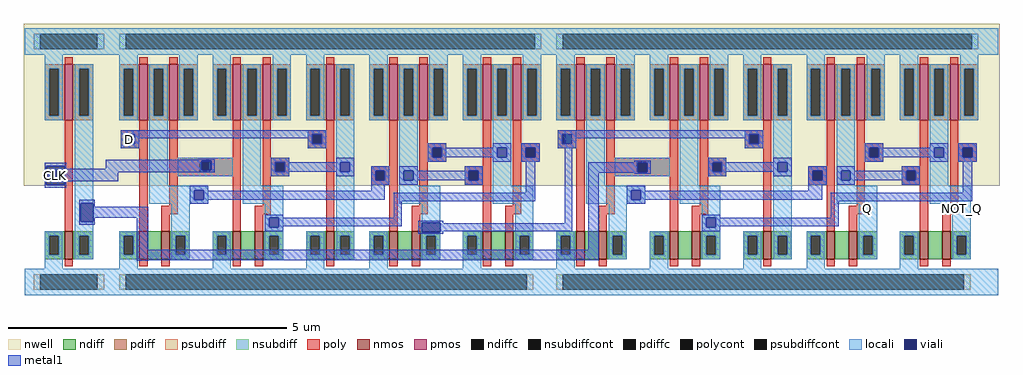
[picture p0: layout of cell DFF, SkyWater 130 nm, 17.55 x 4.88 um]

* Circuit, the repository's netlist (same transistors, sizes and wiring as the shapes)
* NGSPICE file created from DFF.ext - technology: sky130A

.subckt Dlatch VDD D CLK GND Q NOT_Q
X0 a_430_506# CLK VDD VDD sky130_fd_pr__pfet_01v8 ad=3.9e+11p pd=2.78e+06u as=3.24e+12p ps=2.448e+07u w=1e+06u l=150000u
X1 a_94_6# D GND GND sky130_fd_pr__nfet_01v8 ad=1.25e+11p pd=1.5e+06u as=9e+11p ps=8.6e+06u w=500000u l=150000u
X2 a_1330_6# Q GND GND sky130_fd_pr__nfet_01v8 ad=1.25e+11p pd=1.5e+06u as=0p ps=0u w=500000u l=150000u
X3 VDD a_480_n20# a_430_506# VDD sky130_fd_pr__pfet_01v8 ad=0p pd=0u as=0p ps=0u w=1e+06u l=150000u
X4 Q NOT_Q a_994_6# GND sky130_fd_pr__nfet_01v8 ad=1.8e+11p pd=1.72e+06u as=1.25e+11p ps=1.5e+06u w=500000u l=150000u
X5 a_994_6# a_94_506# GND GND sky130_fd_pr__nfet_01v8 ad=0p pd=0u as=0p ps=0u w=500000u l=150000u
X6 a_480_n20# D GND GND sky130_fd_pr__nfet_01v8 ad=1.8e+11p pd=1.72e+06u as=0p ps=0u w=500000u l=150000u
X7 NOT_Q Q VDD VDD sky130_fd_pr__pfet_01v8 ad=3.9e+11p pd=2.78e+06u as=0p ps=0u w=1e+06u l=150000u
X8 a_480_n20# D VDD VDD sky130_fd_pr__pfet_01v8 ad=3.6e+11p pd=2.72e+06u as=0p ps=0u w=1e+06u l=150000u
X9 VDD CLK a_94_506# VDD sky130_fd_pr__pfet_01v8 ad=0p pd=0u as=3.9e+11p ps=2.78e+06u w=1e+06u l=150000u
X10 a_430_506# a_480_n20# a_430_6# GND sky130_fd_pr__nfet_01v8 ad=1.8e+11p pd=1.72e+06u as=1.25e+11p ps=1.5e+06u w=500000u l=150000u
X11 VDD a_430_506# NOT_Q VDD sky130_fd_pr__pfet_01v8 ad=0p pd=0u as=0p ps=0u w=1e+06u l=150000u
X12 Q a_94_506# VDD VDD sky130_fd_pr__pfet_01v8 ad=3.9e+11p pd=2.78e+06u as=0p ps=0u w=1e+06u l=150000u
X13 a_94_506# D VDD VDD sky130_fd_pr__pfet_01v8 ad=0p pd=0u as=0p ps=0u w=1e+06u l=150000u
X14 a_430_6# CLK GND GND sky130_fd_pr__nfet_01v8 ad=0p pd=0u as=0p ps=0u w=500000u l=150000u
X15 NOT_Q a_430_506# a_1330_6# GND sky130_fd_pr__nfet_01v8 ad=1.8e+11p pd=1.72e+06u as=0p ps=0u w=500000u l=150000u
X16 VDD NOT_Q Q VDD sky130_fd_pr__pfet_01v8 ad=0p pd=0u as=0p ps=0u w=1e+06u l=150000u
X17 a_94_506# CLK a_94_6# GND sky130_fd_pr__nfet_01v8 ad=1.8e+11p pd=1.72e+06u as=0p ps=0u w=500000u l=150000u
.ends

.subckt inv VDD GND Y A
X0 Y A GND GND sky130_fd_pr__nfet_01v8 ad=1.8e+11p pd=1.72e+06u as=1.8e+11p ps=1.72e+06u w=500000u l=150000u
X1 Y A VDD VDD sky130_fd_pr__pfet_01v8 ad=3.6e+11p pd=2.72e+06u as=3.6e+11p ps=2.72e+06u w=1e+06u l=150000u
.ends

*.subckt DFF D Q NOT_Q CLK
XDlatch_0 inv_0/VDD D CLK inv_0/GND Dlatch_1/D Dlatch_0/NOT_Q Dlatch
XDlatch_1 inv_0/VDD Dlatch_1/D inv_0/Y inv_0/GND Q NOT_Q Dlatch
Xinv_0 inv_0/VDD inv_0/GND inv_0/Y CLK inv
*.ends

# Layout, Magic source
magic
tech sky130A
magscale 1 2
<< locali >>
rect -264 864 3238 960
rect -84 331 -18 630
rect 82 528 148 594
rect 1654 528 1720 594
rect 286 483 484 494
rect 286 449 373 483
rect 407 449 484 483
rect 286 428 484 449
rect 1858 477 2056 494
rect 1858 443 1941 477
rect 1975 443 2056 477
rect 1858 428 2056 443
rect -84 265 -62 331
rect -84 230 -18 265
rect 1164 261 1230 394
rect 1500 230 1566 394
rect 2736 230 2802 394
rect 3072 230 3138 394
rect 1183 226 1211 227
rect -264 0 3238 96
<< viali >>
rect -186 398 -120 464
rect 373 449 407 483
rect 1941 443 1975 477
rect -62 265 -18 331
rect 1164 227 1230 261
<< metal1 >>
rect 361 488 419 489
rect 27 483 419 488
rect -192 464 -114 476
rect -192 398 -186 464
rect -120 454 -114 464
rect 27 454 373 483
rect -120 449 373 454
rect 407 449 419 483
rect -120 443 419 449
rect -120 409 72 443
rect -120 398 -114 409
rect -192 386 -114 398
rect -68 331 -12 343
rect -68 265 -62 331
rect -18 318 -12 331
rect -18 278 180 318
rect -18 265 -12 278
rect -68 253 -12 265
rect 140 163 180 278
rect 1152 261 1242 267
rect 1152 227 1164 261
rect 1230 258 1242 261
rect 1678 258 1706 578
rect 1929 478 1987 483
rect 1230 230 1706 258
rect 1763 477 1987 478
rect 1763 443 1941 477
rect 1975 443 1987 477
rect 1763 441 1987 443
rect 1230 227 1242 230
rect 1152 221 1242 227
rect 1763 163 1800 441
rect 1929 437 1987 441
rect 140 126 1800 163
rect 140 124 180 126
use Dlatch  Dlatch_0
transform 1 0 84 0 1 124
box -84 -124 1586 852
use Dlatch  Dlatch_1
transform 1 0 1656 0 1 124
box -84 -124 1586 852
use inv  inv_0
transform 1 0 -184 0 1 124
box -84 -124 242 852
<< labels >>
flabel locali s -186 398 -120 464 0 FreeSerif 400 0 0 0 CLK
port 5 nsew
flabel locali s 82 528 148 594 0 FreeSerif 400 0 0 0 D
port 0 nsew
flabel locali s 2736 230 2802 394 0 FreeSerif 400 0 0 0 Q
port 1 nsew
flabel locali s 3072 230 3138 394 0 FreeSerif 400 0 0 0 NOT_Q
port 2 nsew
<< end >>

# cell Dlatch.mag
magic
tech sky130A
<< nwell >>
rect -42 135 793 426
<< nmos >>
rect 32 3 47 53
rect 72 3 87 53
rect 200 3 215 53
rect 240 3 255 53
rect 368 3 383 53
rect 482 3 497 53
rect 522 3 537 53
rect 650 3 665 53
rect 690 3 705 53
<< pmos >>
rect 32 253 47 353
rect 86 253 101 353
rect 200 253 215 353
rect 254 253 269 353
rect 368 253 383 353
rect 482 253 497 353
rect 536 253 551 353
rect 650 253 665 353
rect 704 253 719 353
<< ndiff >>
rect -4 45 32 53
rect -4 11 4 45
rect 21 11 32 45
rect -4 3 32 11
rect 47 3 72 53
rect 87 45 123 53
rect 87 11 98 45
rect 115 11 123 45
rect 87 3 123 11
rect 164 45 200 53
rect 164 11 172 45
rect 189 11 200 45
rect 164 3 200 11
rect 215 3 240 53
rect 255 45 291 53
rect 255 11 266 45
rect 283 11 291 45
rect 255 3 291 11
rect 332 45 368 53
rect 332 11 340 45
rect 357 11 368 45
rect 332 3 368 11
rect 383 45 419 53
rect 383 11 394 45
rect 411 11 419 45
rect 383 3 419 11
rect 446 45 482 53
rect 446 11 454 45
rect 471 11 482 45
rect 446 3 482 11
rect 497 3 522 53
rect 537 45 573 53
rect 537 11 548 45
rect 565 11 573 45
rect 537 3 573 11
rect 614 45 650 53
rect 614 11 622 45
rect 639 11 650 45
rect 614 3 650 11
rect 665 3 690 53
rect 705 45 741 53
rect 705 11 716 45
rect 733 11 741 45
rect 705 3 741 11
<< pdiff >>
rect -4 345 32 353
rect -4 261 4 345
rect 21 261 32 345
rect -4 253 32 261
rect 47 345 86 353
rect 47 261 58 345
rect 75 261 86 345
rect 47 253 86 261
rect 101 345 137 353
rect 101 261 112 345
rect 129 261 137 345
rect 101 253 137 261
rect 164 345 200 353
rect 164 261 172 345
rect 189 261 200 345
rect 164 253 200 261
rect 215 345 254 353
rect 215 261 226 345
rect 243 261 254 345
rect 215 253 254 261
rect 269 345 305 353
rect 269 261 280 345
rect 297 261 305 345
rect 269 253 305 261
rect 332 345 368 353
rect 332 261 340 345
rect 357 261 368 345
rect 332 253 368 261
rect 383 345 419 353
rect 383 261 394 345
rect 411 261 419 345
rect 383 253 419 261
rect 446 345 482 353
rect 446 261 454 345
rect 471 261 482 345
rect 446 253 482 261
rect 497 345 536 353
rect 497 261 508 345
rect 525 261 536 345
rect 497 253 536 261
rect 551 345 587 353
rect 551 261 562 345
rect 579 261 587 345
rect 551 253 587 261
rect 614 345 650 353
rect 614 261 622 345
rect 639 261 650 345
rect 614 253 650 261
rect 665 345 704 353
rect 665 261 676 345
rect 693 261 704 345
rect 665 253 704 261
rect 719 345 755 353
rect 719 261 730 345
rect 747 261 755 345
rect 719 253 755 261
<< ndiffc >>
rect 4 11 21 45
rect 98 11 115 45
rect 172 11 189 45
rect 266 11 283 45
rect 340 11 357 45
rect 394 11 411 45
rect 454 11 471 45
rect 548 11 565 45
rect 622 11 639 45
rect 716 11 733 45
<< pdiffc >>
rect 4 261 21 345
rect 58 261 75 345
rect 112 261 129 345
rect 172 261 189 345
rect 226 261 243 345
rect 280 261 297 345
rect 340 261 357 345
rect 394 261 411 345
rect 454 261 471 345
rect 508 261 525 345
rect 562 261 579 345
rect 622 261 639 345
rect 676 261 693 345
rect 730 261 747 345
<< psubdiff >>
rect -4 -52 8 -24
rect 729 -52 741 -24
<< nsubdiff >>
rect -4 380 8 408
rect 743 380 755 408
<< psubdiffcont >>
rect 8 -52 729 -24
<< nsubdiffcont >>
rect 8 380 743 408
<< poly >>
rect 32 353 47 366
rect 86 353 101 366
rect 200 353 215 366
rect 254 353 269 366
rect 368 353 383 366
rect 482 353 497 366
rect 536 353 551 366
rect 650 353 665 366
rect 704 353 719 366
rect 32 235 47 253
rect -1 227 47 235
rect -1 210 7 227
rect 24 210 47 227
rect -1 202 47 210
rect 32 53 47 202
rect 86 185 101 253
rect 200 185 215 253
rect 86 177 215 185
rect 86 160 141 177
rect 158 160 215 177
rect 86 152 215 160
rect 86 99 101 152
rect 72 84 101 99
rect 72 53 87 84
rect 200 53 215 152
rect 254 185 269 253
rect 368 235 383 253
rect 335 227 383 235
rect 335 210 343 227
rect 360 210 383 227
rect 335 202 383 210
rect 254 177 302 185
rect 254 160 277 177
rect 294 160 302 177
rect 254 152 302 160
rect 254 99 269 152
rect 240 84 269 99
rect 240 53 255 84
rect 368 53 383 202
rect 482 170 497 253
rect 449 162 497 170
rect 449 145 457 162
rect 474 145 497 162
rect 449 137 497 145
rect 482 53 497 137
rect 536 211 551 253
rect 536 203 584 211
rect 536 186 559 203
rect 576 186 584 203
rect 536 178 584 186
rect 536 99 551 178
rect 650 170 665 253
rect 617 162 665 170
rect 617 145 625 162
rect 642 145 665 162
rect 617 137 665 145
rect 522 84 551 99
rect 522 53 537 84
rect 650 53 665 137
rect 704 211 719 253
rect 704 203 752 211
rect 704 186 727 203
rect 744 186 752 203
rect 704 178 752 186
rect 704 99 719 178
rect 690 84 719 99
rect 690 53 705 84
rect 32 -10 47 3
rect 72 -10 87 3
rect 200 -10 215 3
rect 240 -10 255 3
rect 368 -10 383 3
rect 482 -10 497 3
rect 522 -10 537 3
rect 650 -10 665 3
rect 690 -10 705 3
<< polycont >>
rect 7 210 24 227
rect 141 160 158 177
rect 343 210 360 227
rect 277 160 294 177
rect 457 145 474 162
rect 559 186 576 203
rect 625 145 642 162
rect 727 186 744 203
<< locali >>
rect -40 408 791 418
rect -40 380 8 408
rect 743 380 791 408
rect -40 370 791 380
rect -4 345 29 370
rect -4 261 4 345
rect 21 261 29 345
rect -4 253 29 261
rect 50 345 83 353
rect 50 261 58 345
rect 75 261 83 345
rect -1 227 32 235
rect -1 210 7 227
rect 24 210 32 227
rect -1 202 32 210
rect 50 135 83 261
rect 104 345 137 370
rect 104 261 112 345
rect 129 261 137 345
rect 104 253 137 261
rect 164 345 197 370
rect 164 261 172 345
rect 189 261 197 345
rect 164 253 197 261
rect 218 345 251 353
rect 218 261 226 345
rect 243 261 251 345
rect 101 177 200 185
rect 101 160 141 177
rect 158 160 200 177
rect 101 152 200 160
rect 218 135 251 261
rect 272 345 305 370
rect 272 261 280 345
rect 297 261 305 345
rect 272 253 305 261
rect 332 345 365 370
rect 332 261 340 345
rect 357 261 365 345
rect 332 253 365 261
rect 386 345 419 353
rect 386 261 394 345
rect 411 261 419 345
rect 335 227 368 235
rect 335 210 343 227
rect 360 210 368 227
rect 335 202 368 210
rect 269 177 302 185
rect 269 160 277 177
rect 294 160 302 177
rect 269 152 302 160
rect 386 177 419 261
rect 446 345 479 370
rect 446 261 454 345
rect 471 261 479 345
rect 446 253 479 261
rect 500 345 533 353
rect 500 261 508 345
rect 525 261 533 345
rect 386 160 394 177
rect 411 160 419 177
rect 50 127 156 135
rect 50 110 131 127
rect 148 110 156 127
rect 50 102 156 110
rect 218 102 291 135
rect -4 45 29 53
rect -4 11 4 45
rect 21 11 29 45
rect -4 -14 29 11
rect 90 45 123 102
rect 258 77 291 102
rect 258 60 266 77
rect 283 60 291 77
rect 90 11 98 45
rect 115 11 123 45
rect 90 3 123 11
rect 164 45 197 53
rect 164 11 172 45
rect 189 11 197 45
rect 164 -14 197 11
rect 258 45 291 60
rect 258 11 266 45
rect 283 11 291 45
rect 258 3 291 11
rect 332 45 365 53
rect 332 11 340 45
rect 357 11 365 45
rect 332 -14 365 11
rect 386 45 419 160
rect 449 162 482 170
rect 449 145 457 162
rect 474 145 482 162
rect 449 137 482 145
rect 500 162 533 261
rect 554 345 587 370
rect 554 261 562 345
rect 579 261 587 345
rect 554 253 587 261
rect 614 345 647 370
rect 614 261 622 345
rect 639 261 647 345
rect 614 253 647 261
rect 668 345 701 353
rect 668 261 676 345
rect 693 261 701 345
rect 551 203 584 211
rect 551 186 559 203
rect 576 186 584 203
rect 551 178 584 186
rect 668 203 701 261
rect 722 345 755 370
rect 722 261 730 345
rect 747 261 755 345
rect 722 253 755 261
rect 668 186 676 203
rect 693 186 701 203
rect 500 145 508 162
rect 525 145 533 162
rect 500 135 533 145
rect 617 162 650 170
rect 617 145 625 162
rect 642 145 650 162
rect 617 137 650 145
rect 668 135 701 186
rect 719 203 752 211
rect 719 186 727 203
rect 744 186 752 203
rect 719 178 752 186
rect 500 102 573 135
rect 668 102 741 135
rect 386 11 394 45
rect 411 11 419 45
rect 386 3 419 11
rect 446 45 479 53
rect 446 11 454 45
rect 471 11 479 45
rect 446 -14 479 11
rect 540 45 573 102
rect 540 11 548 45
rect 565 11 573 45
rect 540 3 573 11
rect 614 45 647 53
rect 614 11 622 45
rect 639 11 647 45
rect 614 -14 647 11
rect 708 45 741 102
rect 708 11 716 45
rect 733 11 741 45
rect 708 3 741 11
rect -40 -24 791 -14
rect -40 -52 8 -24
rect 729 -52 791 -24
rect -40 -62 791 -52
<< viali >>
rect 7 210 24 227
rect 343 210 360 227
rect 277 160 294 177
rect 394 160 411 177
rect 131 110 148 127
rect 266 60 283 77
rect 457 145 474 162
rect 559 186 576 203
rect 676 186 693 203
rect 508 145 525 162
rect 625 145 642 162
rect 727 186 744 203
<< metal1 >>
rect -1 227 368 235
rect -1 210 7 227
rect 24 220 343 227
rect 24 210 32 220
rect -1 202 32 210
rect 335 210 343 220
rect 360 210 368 227
rect 335 202 368 210
rect 551 203 584 211
rect 668 203 701 211
rect 551 186 559 203
rect 576 186 676 203
rect 693 186 701 203
rect 269 177 302 185
rect 386 177 419 185
rect 551 178 584 186
rect 668 178 701 186
rect 719 203 752 211
rect 719 186 727 203
rect 744 186 752 203
rect 719 178 752 186
rect 269 160 277 177
rect 294 160 394 177
rect 411 160 419 177
rect 269 152 302 160
rect 386 152 419 160
rect 449 162 482 170
rect 449 145 457 162
rect 474 145 482 162
rect 449 137 482 145
rect 500 162 533 170
rect 617 162 650 170
rect 500 145 508 162
rect 525 145 625 162
rect 642 145 650 162
rect 500 137 533 145
rect 617 137 650 145
rect 123 127 156 135
rect 123 110 131 127
rect 148 126 156 127
rect 449 126 474 137
rect 148 110 474 126
rect 727 122 744 178
rect 123 102 156 110
rect 490 107 744 122
rect 258 77 291 83
rect 490 77 504 107
rect 258 60 266 77
rect 283 62 504 77
rect 283 60 291 62
rect 258 53 291 60
<< labels >>
flabel locali -40 -62 791 -14 0 FreeSerif 80 0 0 0 GND!
port 11 nsew
flabel locali -40 370 791 418 0 FreeSerif 80 0 0 0 VDD!
port 0 nsew
flabel locali s -1 202 32 235 0 FreeSerif 80 0 0 0 D
port 1 nsew
flabel locali s 101 152 200 185 0 FreeSerif 80 0 0 0 CLK
port 6 nsew
flabel locali s 540 53 573 135 0 FreeSerif 80 0 0 0 Q
port 22 nsew
flabel locali s 708 53 741 135 0 FreeSerif 80 0 0 0 NOT_Q
port 23 nsew
rlabel ndiff 32 24 32 24 0 S$
rlabel ndiff 72 24 72 24 0 S$
rlabel ndiff 200 24 200 24 0 S$
rlabel ndiff 240 24 240 24 0 S$
rlabel ndiff 368 24 368 24 0 S$
rlabel ndiff 482 22 482 22 0 S$
rlabel ndiff 522 22 522 22 0 S$
rlabel ndiff 650 20 650 20 0 S$
rlabel ndiff 690 18 690 18 0 S$
rlabel pdiff 719 312 719 312 0 S$
rlabel pdiff 650 310 650 310 0 S$
rlabel pdiff 551 314 551 314 0 S$
rlabel pdiff 482 312 482 312 0 S$
rlabel pdiff 368 318 368 318 0 S$
rlabel pdiff 269 314 269 314 0 S$
rlabel pdiff 200 320 200 320 0 S$
rlabel pdiff 101 312 101 312 0 S$
rlabel pdiff 32 314 32 314 0 S$
<< end >>

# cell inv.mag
magic
tech sky130A
<< nwell >>
rect -42 135 121 426
<< nmos >>
rect 32 3 47 53
<< pmos >>
rect 32 253 47 353
<< ndiff >>
rect -4 45 32 53
rect -4 11 4 45
rect 21 11 32 45
rect -4 3 32 11
rect 47 45 83 53
rect 47 11 58 45
rect 75 11 83 45
rect 47 3 83 11
<< pdiff >>
rect -4 345 32 353
rect -4 261 4 345
rect 21 261 32 345
rect -4 253 32 261
rect 47 345 83 353
rect 47 261 58 345
rect 75 261 83 345
rect 47 253 83 261
<< ndiffc >>
rect 4 11 21 45
rect 58 11 75 45
<< pdiffc >>
rect 4 261 21 345
rect 58 261 75 345
<< psubdiff >>
rect -24 -52 -12 -24
rect 91 -52 103 -24
<< nsubdiff >>
rect -24 380 -12 408
rect 91 380 103 408
<< psubdiffcont >>
rect -12 -52 91 -24
<< nsubdiffcont >>
rect -12 380 91 408
<< poly >>
rect 32 353 47 366
rect 32 170 47 253
rect -1 162 47 170
rect -1 145 7 162
rect 24 145 47 162
rect -1 137 47 145
rect 32 53 47 137
rect 32 -10 47 3
<< polycont >>
rect 7 145 24 162
<< locali >>
rect -40 408 119 418
rect -40 380 -12 408
rect 91 380 119 408
rect -40 370 119 380
rect -4 345 29 370
rect -4 261 4 345
rect 21 261 29 345
rect -4 253 29 261
rect 50 345 83 353
rect 50 261 58 345
rect 75 261 83 345
rect -1 162 32 170
rect -1 145 7 162
rect 24 145 32 162
rect -1 137 32 145
rect -4 45 29 53
rect -4 11 4 45
rect 21 11 29 45
rect -4 -14 29 11
rect 50 45 83 261
rect 50 11 58 45
rect 75 11 83 45
rect 50 3 83 11
rect -40 -24 119 -14
rect -40 -52 -12 -24
rect 91 -52 119 -24
rect -40 -62 119 -52
<< labels >>
flabel locali -40 -62 119 -14 1 FreeSerif 80 0 0 0 GND!
port 1 n
flabel locali 50 53 83 253 1 FreeSerif 80 0 0 0 Y
port 2 n
flabel locali -1 137 32 170 0 FreeSerif 80 0 0 0 A
port 3 nsew
flabel locali -40 370 119 418 0 FreeSerif 80 0 0 0 VDD!
port 0 nsew
<< end >>
